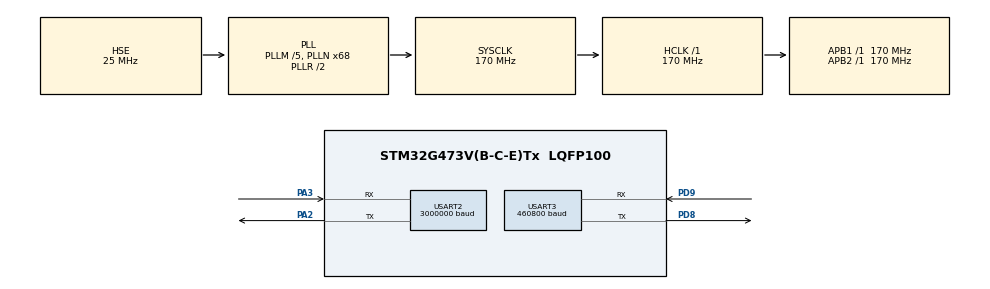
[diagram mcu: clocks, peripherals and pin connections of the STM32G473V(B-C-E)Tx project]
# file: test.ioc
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Dma.Request0=USART3_RX
Dma.Request1=USART3_TX
Dma.Request2=USART2_RX
Dma.Request3=USART2_TX
Dma.USART2_RX.2.Direction=DMA_PERIPH_TO_MEMORY
Dma.USART2_RX.2.EventEnable=DISABLE
Dma.USART2_RX.2.Instance=DMA1_Channel3
Dma.USART2_RX.2.MemDataAlignment=DMA_MDATAALIGN_BYTE
Dma.USART2_RX.2.MemInc=DMA_MINC_ENABLE
Dma.USART2_RX.2.Mode=DMA_CIRCULAR
Dma.USART2_RX.2.PeriphDataAlignment=DMA_PDATAALIGN_BYTE
Dma.USART2_RX.2.PeriphInc=DMA_PINC_DISABLE
Dma.USART2_RX.2.Polarity=HAL_DMAMUX_REQ_GEN_RISING
Dma.USART2_RX.2.Priority=DMA_PRIORITY_LOW
Dma.USART2_RX.2.RequestNumber=1
Dma.USART2_RX.2.SignalID=NONE
Dma.USART2_RX.2.SyncEnable=DISABLE
Dma.USART2_RX.2.SyncPolarity=HAL_DMAMUX_SYNC_NO_EVENT
Dma.USART2_RX.2.SyncRequestNumber=1
Dma.USART2_RX.2.SyncSignalID=NONE
Dma.USART2_TX.3.Direction=DMA_MEMORY_TO_PERIPH
Dma.USART2_TX.3.EventEnable=DISABLE
Dma.USART2_TX.3.Instance=DMA1_Channel4
Dma.USART2_TX.3.MemDataAlignment=DMA_MDATAALIGN_BYTE
Dma.USART2_TX.3.MemInc=DMA_MINC_ENABLE
Dma.USART2_TX.3.Mode=DMA_CIRCULAR
Dma.USART2_TX.3.PeriphDataAlignment=DMA_PDATAALIGN_BYTE
Dma.USART2_TX.3.PeriphInc=DMA_PINC_DISABLE
Dma.USART2_TX.3.Polarity=HAL_DMAMUX_REQ_GEN_RISING
Dma.USART2_TX.3.Priority=DMA_PRIORITY_LOW
Dma.USART2_TX.3.RequestNumber=1
Dma.USART2_TX.3.SignalID=NONE
Dma.USART2_TX.3.SyncEnable=DISABLE
Dma.USART2_TX.3.SyncPolarity=HAL_DMAMUX_SYNC_NO_EVENT
Dma.USART2_TX.3.SyncRequestNumber=1
Dma.USART2_TX.3.SyncSignalID=NONE
Dma.USART3_RX.0.Direction=DMA_PERIPH_TO_MEMORY
Dma.USART3_RX.0.EventEnable=DISABLE
Dma.USART3_RX.0.Instance=DMA1_Channel1
Dma.USART3_RX.0.MemDataAlignment=DMA_MDATAALIGN_BYTE
Dma.USART3_RX.0.MemInc=DMA_MINC_ENABLE
Dma.USART3_RX.0.Mode=DMA_CIRCULAR
Dma.USART3_RX.0.PeriphDataAlignment=DMA_PDATAALIGN_BYTE
Dma.USART3_RX.0.PeriphInc=DMA_PINC_DISABLE
Dma.USART3_RX.0.Polarity=HAL_DMAMUX_REQ_GEN_RISING
Dma.USART3_RX.0.Priority=DMA_PRIORITY_LOW
Dma.USART3_RX.0.RequestNumber=1
Dma.USART3_RX.0.SignalID=NONE
Dma.USART3_RX.0.SyncEnable=DISABLE
Dma.USART3_RX.0.SyncPolarity=HAL_DMAMUX_SYNC_NO_EVENT
Dma.USART3_RX.0.SyncRequestNumber=1
Dma.USART3_RX.0.SyncSignalID=NONE
Dma.USART3_TX.1.Direction=DMA_MEMORY_TO_PERIPH
Dma.USART3_TX.1.EventEnable=DISABLE
Dma.USART3_TX.1.Instance=DMA1_Channel2
Dma.USART3_TX.1.MemDataAlignment=DMA_MDATAALIGN_BYTE
Dma.USART3_TX.1.MemInc=DMA_MINC_ENABLE
Dma.USART3_TX.1.Mode=DMA_CIRCULAR
Dma.USART3_TX.1.PeriphDataAlignment=DMA_PDATAALIGN_BYTE
Dma.USART3_TX.1.PeriphInc=DMA_PINC_DISABLE
Dma.USART3_TX.1.Polarity=HAL_DMAMUX_REQ_GEN_RISING
Dma.USART3_TX.1.Priority=DMA_PRIORITY_LOW
Dma.USART3_TX.1.RequestNumber=1
Dma.USART3_TX.1.SignalID=NONE
Dma.USART3_TX.1.SyncEnable=DISABLE
Dma.USART3_TX.1.SyncPolarity=HAL_DMAMUX_SYNC_NO_EVENT
Dma.USART3_TX.1.SyncRequestNumber=1
Dma.USART3_TX.1.SyncSignalID=NONE
Mcu.Family=STM32G4
Mcu.Name=STM32G473V(B-C-E)Tx
Mcu.Package=LQFP100
NVIC.DMA1_Channel1_IRQn=true\:0\:0\:false\:false\:true\:false\:true\:true
NVIC.DMA1_Channel2_IRQn=true\:0\:0\:false\:false\:true\:false\:true\:true
NVIC.DMA1_Channel3_IRQn=true\:0\:0\:false\:false\:true\:false\:true\:true
NVIC.DMA1_Channel4_IRQn=true\:0\:0\:false\:false\:true\:false\:true\:true
NVIC.PriorityGroup=NVIC_PRIORITYGROUP_4
NVIC.USART2_IRQn=true\:0\:0\:false\:false\:true\:false\:true\:true
NVIC.USART3_IRQn=true\:0\:0\:false\:false\:true\:false\:true\:true
PA13.Mode=Serial_Wire
PA13.Signal=SYS_JTMS-SWDIO
PA14.Mode=Serial_Wire
PA14.Signal=SYS_JTCK-SWCLK
PA2.Mode=Asynchronous
PA2.Signal=USART2_TX
PA3.Mode=Asynchronous
PA3.Signal=USART2_RX
PD8.Mode=Asynchronous
PD8.Signal=USART3_TX
PD9.Mode=Asynchronous
PD9.Signal=USART3_RX
PF0-OSC_IN.Mode=HSE-External-Oscillator
PF0-OSC_IN.Signal=RCC_OSC_IN
PF1-OSC_OUT.Mode=HSE-External-Oscillator
PF1-OSC_OUT.Signal=RCC_OSC_OUT
ProjectManager.HeapSize=0x200
ProjectManager.StackSize=0x400
ProjectManager.TargetToolchain=Makefile
RCC.ADC12Freq_Value=170000000
RCC.ADC345Freq_Value=170000000
RCC.AHBFreq_Value=170000000
RCC.APB1Freq_Value=170000000
RCC.APB1TimFreq_Value=170000000
RCC.APB2Freq_Value=170000000
RCC.APB2TimFreq_Value=170000000
RCC.CortexFreq_Value=170000000
RCC.EXTERNAL_CLOCK_VALUE=12288000
RCC.HCLKFreq_Value=170000000
RCC.HSE_VALUE=25000000
RCC.HSI48_VALUE=48000000
RCC.HSI_VALUE=16000000
RCC.LSE_VALUE=32768
RCC.PLLM=RCC_PLLM_DIV5
RCC.PLLN=68
RCC.PLLSourceVirtual=RCC_PLLSOURCE_HSE
RCC.SYSCLKFreq_VALUE=170000000
RCC.SYSCLKSource=RCC_SYSCLKSOURCE_PLLCLK
RCC.USBFreq_Value=170000000
RCC.VCOOutputFreq_Value=340000000
USART2.BaudRate=3000000
USART2.Parity=PARITY_NONE
USART2.StopBits=STOPBITS_1
USART2.VirtualMode-Asynchronous=VM_ASYNC
USART2.WordLength=WORDLENGTH_8B
USART3.BaudRate=460800
USART3.StopBits=STOPBITS_2
USART3.VirtualMode-Asynchronous=VM_ASYNC
VP_SYS_VS_DBSignals.Mode=DisableDeadBatterySignals
board=custom

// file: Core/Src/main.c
/* USER CODE BEGIN Header */
/**
  ******************************************************************************
  * @file           : main.c
  * @brief          : Main program body
  ******************************************************************************
  * @attention
  *
  * Copyright (c) 2024 STMicroelectronics.
  * All rights reserved.
  *
  * This software is licensed under terms that can be found in the LICENSE file
  * in the root directory of this software component.
  * If no LICENSE file comes with this software, it is provided AS-IS.
  *
  ******************************************************************************
  */
/* USER CODE END Header */
#include "main.h"
#include "dma.h"
#include "usart.h"
#include "gpio.h"

void SystemClock_Config(void);

/* USER CODE BEGIN 0 */
const uint8_t START_BYTE = 0xAAu;

typedef struct
{
    uint8_t sof;
    uint16_t dataLen;

    uint8_t protocolID;
  //  uint8_t isflowcontrolopen = 0;
}__attribute__((packed))FrameHeader;

// 0 stands for msg received, 1 stands for msg sent
enum
{
    BEAT_MSG           = 0x01,
    GIMBAL_MSG         = 0x02,
    CHASSIS_MSG        = 0x03,
    CONTROL_MODE_MSG   = 0x04,
    CHASSIS_IMU_MSG    = 0x05,
    GIMBAL_IMU_MSG     = 0x06,
    SENTRY_GIMBAL_MSG  = 0x07,
    ROBOT_SURVIVAL_MSG = 0x08,
    GIMBAL_CMD         = 0x11,
    CHASSIS_CMD        = 0x12,
    SHOOTER_CMD        = 0x13,
    UWB_MSG            = 0x14
}CommunicationType;

// Info structs
typedef struct
{
    uint8_t cur_cv_mode;
    uint8_t target_color;
    float bullet_speed;
    float q[4];  // w, x, y, z
}__attribute__((packed))GimbalStatus;

typedef struct
{
    float xVel, yVel, wVel;
} __attribute__((packed))ChassisStatus;

typedef struct
{
    enum CurCVMode
    {
        MANULA = 0,
    } curCVMode;
    enum TargetColor
    {
        BLUE  = 0,
        GREEN = 1,
        RED   = 2
    } color;
    float bulletSpeed;
} __attribute__((packed))CVMode;

// Command structs
typedef struct
{
    float target_pitch;
    float target_yaw;
    uint8_t shoot_mode;
} __attribute__((packed))GimbalCommand;

typedef struct
{
    float xVel, yVel, wVel;
} __attribute__((packed))ChassisCommand;

typedef struct
{
    uint8_t shootMode;
} __attribute__((packed))ShooterCommand;

typedef struct
{
    uint32_t beat;
} __attribute__((packed))HeartBeat;

typedef struct
{
    float acc[3];
    float gyro[3];
} __attribute__((packed))ChassisIMU;

typedef struct
{
    float acc[3];
    float gyro[3];
} __attribute__((packed))GimbalIMU;

typedef struct
{
    uint8_t cur_cv_mode;
    uint8_t target_color;  // 0 - red 1 - green 2 - blue
    float q[4];
    float qC2G[4];
} __attribute__((packed))SentryGimbalStatus;

typedef struct
{
    uint8_t game_state;
    uint32_t bullet_remained;

    uint8_t redHeroAlive : 1;
    uint8_t redEngAlive : 1;
    uint8_t redInf1Alive : 1;
    uint8_t redInf2Alive : 1;
    uint8_t redInf3Alive : 1;
    uint8_t redSentAlive : 1;
    uint8_t redBaseAlive : 1;
    uint8_t blueHeroAlive : 1;
    uint8_t blueEngAlive : 1;
    uint8_t blueInf1Alive : 1;
    uint8_t blueInf2Alive : 1;
    uint8_t blueInf3Alive : 1;
    uint8_t blueSentAlive : 1;
    uint8_t blueOutpostAlive : 1;
    uint8_t blueBaseAlive : 1;

    uint16_t enemyOutpostRemainHP;
    uint16_t friendOutpostRemainHP;
    uint16_t myHP;
} __attribute__((packed))RefereeState;
static volatile int count;

/**
 * @brief Create user tasks
 */

#define UART huart2
#define RX_SIZE 64
#define TX_SIZE 64
static uint8_t tx_buffer[TX_SIZE];
static uint8_t rx_buffer[RX_SIZE];
static uint8_t message[64];
static uint8_t rxmsg[64];
static uint8_t check = 0;
static int64_t check_sum = 0;
static uint8_t check_callback = 0;
int64_t callbackCount = 0;
float baudrate = 0;
int64_t start = 0;
int64_t now = 0;
int64_t timer = 0;
int32_t offCount = 0;
int64_t receiveBytes = 0;
int64_t errorCount;
int64_t dmaNotOKCount = 0;
float notOKRate = 0;
volatile int64_t rxCounter = 0;

GimbalStatus rosGimbalStatus;
FrameHeader rosHeader = {START_BYTE, sizeof(GimbalStatus), GIMBAL_MSG};

void rxErrorCallback(UART_HandleTypeDef *handle)
{
    errorCount++;
}

void RxCpltCallBack(UART_HandleTypeDef *handle, uint16_t size)
{

    if (size == RX_SIZE / 2)
        return;

    // for (int i = 0; i< RX_SIZE; i++)
    // {
    //     if (rx_buffer[i] != 0x44)
    //     {
    //         check_sum++;
    //     }
    // }
    // now = HAL_GetTick();
    // callbackCount++;
    receiveBytes += size;
    rxCounter += sizeof(rx_buffer);
    // baudrate = receiveBytes * 10.0f / (now - start) * 1000.0f;
    // check_callback = 0;

    // if (HAL_UARTEx_ReceiveToIdle_DMA(handle, rx_buffer, RX_SIZE) != HAL_OK)
    // {
    //     dmaNotOKCount++;
    //     if (handle->hdmarx->State != HAL_DMA_STATE_READY)
    //     {
    //         __BKPT();
    //     }
    // }
    // __HAL_DMA_DISABLE_IT(handle->hdmarx, DMA_IT_HT);

    // notOKRate = (float)dmaNotOKCount / callbackCount;
}
static volatile int64_t txBytes;
void txcallback(UART_HandleTypeDef *huart)
{
    now = HAL_GetTick();
    txBytes += sizeof(tx_buffer);
    baudrate = txBytes * 10.0f / (now - start) * 1000.0f;
    if (now - start > 40000)
    {
      ATOMIC_CLEAR_BIT(huart->Instance->CR3, USART_CR3_DMAT);
    }
}
// void startUserTasks()
// {
//     count = 0;
//     HAL_UART_RegisterRxEventCallback(&UART, RxCpltCallBack);
//     HAL_UART_RegisterCallback(&UART, HAL_UART_ERROR_CB_ID, rxErrorCallback);
//     memset(message,0x03,TX_SIZE);
//     memcpy(tx_buffer, message, sizeof(message));
//     HAL_UART_Transmit_DMA(&UART, tx_buffer, TX_SIZE) == HAL_OK;
//     // else {check = false;}
//     // HAL_UARTEx_ReceiveToIdle_DMA(&UART, rx_buffer, RX_SIZE);
//     // __HAL_DMA_DISABLE_IT(UART.hdmarx, DMA_IT_HT);
//     memcpy(rxmsg,rx_buffer,RX_SIZE);
//     while (1)
//     {
//         if (check_callback)
//         {
//             // offCount++;
//             // HAL_UART_DMAStop(&UART);
//             // HAL_UART_Abort_IT(&UART) ;
//             // HAL_UARTEx_ReceiveToIdle_DMA(&UART, rx_buffer, RX_SIZE);
//         }
//         check_callback = true;
//         // // if (HAL_DMA_GetState(huart2.hdmarx) == HAL_DMA_STATE_READY) {
//         //     HAL_UARTEx_ReceiveToIdle_DMA(&huart2, rx_buffer, 64);
//         // // }
//         // HAL_Delay(1);
//     }
// }
/* USER CODE END 0 */

int main(void)
{

  /* MCU Configuration--------------------------------------------------------*/

  /* Reset of all peripherals, Initializes the Flash interface and the Systick. */
  HAL_Init();

  /* Configure the system clock */
  SystemClock_Config();

  /* Initialize all configured peripherals */
  MX_GPIO_Init();
  MX_DMA_Init();
  MX_USART2_UART_Init();
  MX_USART3_UART_Init();
  /* USER CODE BEGIN 2 */
    rosGimbalStatus.bullet_speed = 10.0f;
    rosGimbalStatus.cur_cv_mode  = 0;
    // static volatile Core::Utils::Math::Quaternion<float> imutest = Core::Drivers::IMU::getQuaternion();
    for (int i = 0; i < 4; i++){
        rosGimbalStatus.q[i] = 0.5f;
    }
    rosGimbalStatus.target_color = 0;
  count = 0;
  HAL_UART_RegisterCallback(&UART, HAL_UART_RX_COMPLETE_CB_ID,RxCpltCallBack);
  HAL_UART_RegisterCallback(&UART,HAL_UART_TX_COMPLETE_CB_ID,txcallback);
  HAL_UART_RegisterCallback(&UART, HAL_UART_ERROR_CB_ID, rxErrorCallback);
  //   // handle.size = sizeof(FrameHeader) + header.dataLen + 2;
  // memcpy(tx_buffer, (uint8_t)rosHeader, sizeof(FrameHeader));
  // memcpy(tx_buffer + sizeof(FrameHeader), rosGimbalStatus, sizeof(rosGimbalStatus));
  // memcpy(tx_buffer + sizeof(FrameHeader) + sizeof(rosGimbalStatus) + 2, "end", 3);

  //   handle.size += 2;
  memset(message,0xFF,TX_SIZE);
  // message[0] = 0xA5;
  // for (int i =1; i<64;i++){message[i] = i;}
  memcpy(tx_buffer, message, sizeof(message));
  HAL_UART_Transmit_DMA(&UART, tx_buffer, TX_SIZE);
  // else {check = false;}
  // HAL_UARTEx_ReceiveToIdle_DMA(&UART, rx_buffer, RX_SIZE);
  HAL_UART_Receive_DMA(&UART,rx_buffer,RX_SIZE);

  // __HAL_DMA_DISABLE_IT(UART.hdmarx, DMA_IT_HT);
  // memcpy(rxmsg,rx_buffer,RX_SIZE);
  /* USER CODE END 2 */

  /* Infinite loop */
  while (1)
  {

    /* USER CODE BEGIN 3 */
    if (HAL_GetTick() - start > 40000)
    {
      rxCounter += sizeof(rx_buffer) - __HAL_DMA_GET_COUNTER(huart2.hdmarx);
      HAL_UART_DMAStop(&UART);
      __BKPT();
    }
    // if (check_callback)
    // {
        // offCount++;
        // HAL_UART_DMAStop(&UART);
        // HAL_UART_Abort_IT(&UART) ;
        // HAL_UARTEx_ReceiveToIdle_DMA(&UART, rx_buffer, RX_SIZE);
    // }
    // check_callback = true;
    // // if (HAL_DMA_GetState(huart2.hdmarx) == HAL_DMA_STATE_READY) {
    //     HAL_UARTEx_ReceiveToIdle_DMA(&huart2, rx_buffer, 64);
    // // }
    // HAL_Delay(1);
  }
  /* USER CODE END 3 */
}

void SystemClock_Config(void)
{
  RCC_OscInitTypeDef RCC_OscInitStruct = {0};
  RCC_ClkInitTypeDef RCC_ClkInitStruct = {0};

  /** Configure the main internal regulator output voltage
  */
  HAL_PWREx_ControlVoltageScaling(PWR_REGULATOR_VOLTAGE_SCALE1_BOOST);

  /** Initializes the RCC Oscillators according to the specified parameters
  * in the RCC_OscInitTypeDef structure.
  */
  RCC_OscInitStruct.OscillatorType = RCC_OSCILLATORTYPE_HSE;
  RCC_OscInitStruct.HSEState = RCC_HSE_ON;
  RCC_OscInitStruct.PLL.PLLState = RCC_PLL_ON;
  RCC_OscInitStruct.PLL.PLLSource = RCC_PLLSOURCE_HSE;
  RCC_OscInitStruct.PLL.PLLM = RCC_PLLM_DIV5;
  RCC_OscInitStruct.PLL.PLLN = 68;
  RCC_OscInitStruct.PLL.PLLP = RCC_PLLP_DIV2;
  RCC_OscInitStruct.PLL.PLLQ = RCC_PLLQ_DIV2;
  RCC_OscInitStruct.PLL.PLLR = RCC_PLLR_DIV2;
  if (HAL_RCC_OscConfig(&RCC_OscInitStruct) != HAL_OK)
  {
    Error_Handler();
  }

  /** Initializes the CPU, AHB and APB buses clocks
  */
  RCC_ClkInitStruct.ClockType = RCC_CLOCKTYPE_HCLK|RCC_CLOCKTYPE_SYSCLK
                              |RCC_CLOCKTYPE_PCLK1|RCC_CLOCKTYPE_PCLK2;
  RCC_ClkInitStruct.SYSCLKSource = RCC_SYSCLKSOURCE_PLLCLK;
  RCC_ClkInitStruct.AHBCLKDivider = RCC_SYSCLK_DIV1;
  RCC_ClkInitStruct.APB1CLKDivider = RCC_HCLK_DIV1;
  RCC_ClkInitStruct.APB2CLKDivider = RCC_HCLK_DIV1;

  if (HAL_RCC_ClockConfig(&RCC_ClkInitStruct, FLASH_LATENCY_4) != HAL_OK)
  {
    Error_Handler();
  }
}

void Error_Handler(void)
{
  __disable_irq();
  while (1)
  {
  }
}
